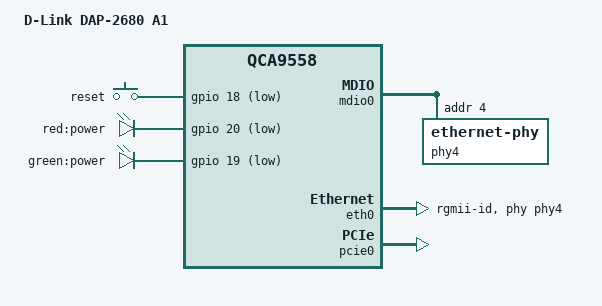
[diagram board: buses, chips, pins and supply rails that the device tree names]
// SPDX-License-Identifier: GPL-2.0-or-later OR MIT

#include "qca955x_dlink_dap-2xxx.dtsi"

/ {
	compatible = "dlink,dap-2680-a1", "qca,qca9558";
	model = "D-Link DAP-2680 A1";

	aliases {
		led-boot = &led_power_green;
		led-failsafe = &led_power_red;
		led-running = &led_power_green;
		led-upgrade = &led_power_red;
	};

	keys {
		compatible = "gpio-keys";

		reset {
			label = "reset";
			linux,code = <KEY_RESTART>;
			gpios = <&gpio 18 GPIO_ACTIVE_LOW>;
		};
	};

	leds {
		compatible = "gpio-leds";

		led_power_red: power_red {
			label = "red:power";
			gpios = <&gpio 20 GPIO_ACTIVE_LOW>;
		};

		led_power_green: power_green {
			label = "green:power";
			gpios = <&gpio 19 GPIO_ACTIVE_LOW>;
			default-state = "on";
		};
	};
};

&partitions {
	partition@70000 {
		label = "firmware";
		reg = <0x70000 0xee0000>;
		compatible = "wrg";
	};

	partition@f50000 {
		label = "dlink";
		reg = <0xf50000 0xa0000>;
		read-only;
	};

	art: partition@ff0000 {
		label = "art";
		reg = <0xff0000 0x10000>;
		read-only;
	};
};

&mdio0 {
	status = "okay";

	phy4: ethernet-phy@4 {
		reg = <4>;
	};
};

&eth0 {
	status = "okay";

	pll-data = <0x82000000 0x80000101 0x80001313>;

	phy-handle = <&phy4>;
	phy-mode = "rgmii-id";

	gmac-config {
		device = <&gmac>;
		rgmii-enabled = <1>;
		rxd-delay = <3>;
		rxdv-delay = <3>;
	};
};

&pcie0 {
	status = "okay";
};
